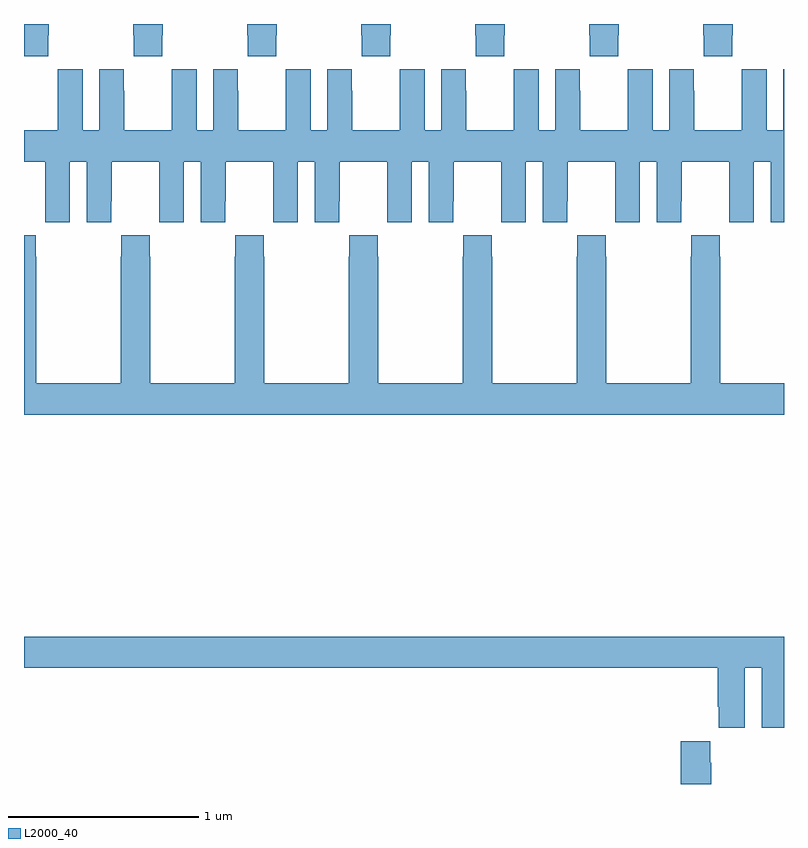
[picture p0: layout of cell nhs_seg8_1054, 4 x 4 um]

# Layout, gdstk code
import gdstk
lib = gdstk.Library(unit=1e-6, precision=1e-09)
def P(c, l, *ps):  # polygons
    for p in ps: c.add(gdstk.Polygon(p, *l))
L2000_40 = (2000, 40)

nhs_seg8_1054 = lib.new_cell('nhs_seg8_1054')
P(nhs_seg8_1054, L2000_40, [(179.727,1107.841),(179.73,1107.841),(179.73,1107.9),(179.575,1107.9),(179.575,1107.841),(179.577,1107.841),(179.577,1107.729),(179.727,1107.729)],
  [(180.327,1107.841),(180.33,1107.841),(180.33,1107.9),(180.175,1107.9),(180.175,1107.841),(180.177,1107.841),(180.177,1107.729),(180.327,1107.729)],
  [(180.927,1107.841),(180.93,1107.841),(180.93,1107.9),(180.775,1107.9),(180.775,1107.841),(180.777,1107.841),(180.777,1107.729),(180.927,1107.729)],
  [(181.527,1107.841),(181.53,1107.841),(181.53,1107.9),(181.375,1107.9),(181.375,1107.841),(181.377,1107.841),(181.377,1107.729),(181.527,1107.729)],
  [(182.127,1107.841),(182.13,1107.841),(182.13,1107.9),(181.975,1107.9),(181.975,1107.841),(181.977,1107.841),(181.977,1107.729),(182.127,1107.729)],
  [(182.727,1107.841),(182.73,1107.841),(182.73,1107.9),(182.575,1107.9),(182.575,1107.841),(182.577,1107.841),(182.577,1107.729),(182.727,1107.729)],
  [(179.127,1107.841),(179.13,1107.841),(179.13,1107.9),(179,1107.9),(179,1107.729),(179.127,1107.729)],
  [(180.311,1106.968),(180.312,1106.968),(180.312,1106.856),(180.442,1106.856),(180.442,1107.176),(180.53,1107.176),(180.53,1106.856),(180.66,1106.856),(180.66,1106.968),(180.661,1106.968),(180.661,1107.176),(180.911,1107.176),(180.911,1106.968),(180.912,1106.968),(180.912,1106.856),(181.042,1106.856),(181.042,1107.176),(181.13,1107.176),(181.13,1106.856),(181.26,1106.856),(181.26,1106.968),(181.261,1106.968),(181.261,1107.176),(181.511,1107.176),(181.511,1106.968),(181.512,1106.968),(181.512,1106.856),(181.642,1106.856),(181.642,1107.176),(181.73,1107.176),(181.73,1106.856),(181.86,1106.856),(181.86,1106.968),(181.861,1106.968),(181.861,1107.176),(182.111,1107.176),(182.111,1106.968),(182.112,1106.968),(182.112,1106.856),(182.242,1106.856),(182.242,1107.176),(182.33,1107.176),(182.33,1106.856),(182.46,1106.856),(182.46,1106.968),(182.461,1106.968),(182.461,1107.176),(182.711,1107.176),(182.711,1106.968),(182.712,1106.968),(182.712,1106.856),(182.842,1106.856),(182.842,1107.176),(182.93,1107.176),(182.93,1106.856),(183,1106.856),(183,1107.661),(182.996,1107.661),(182.996,1107.34),(182.908,1107.34),(182.908,1107.661),(182.778,1107.661),(182.778,1107.548),(182.777,1107.548),(182.777,1107.34),(182.527,1107.34),(182.527,1107.548),(182.526,1107.548),(182.526,1107.661),(182.396,1107.661),(182.396,1107.34),(182.308,1107.34),(182.308,1107.661),(182.178,1107.661),(182.178,1107.548),(182.177,1107.548),(182.177,1107.34),(181.927,1107.34),(181.927,1107.548),(181.926,1107.548),(181.926,1107.661),(181.796,1107.661),(181.796,1107.34),(181.708,1107.34),(181.708,1107.661),(181.578,1107.661),(181.578,1107.548),(181.577,1107.548),(181.577,1107.34),(181.327,1107.34),(181.327,1107.548),(181.326,1107.548),(181.326,1107.661),(181.196,1107.661),(181.196,1107.34),(181.108,1107.34),(181.108,1107.661),(180.978,1107.661),(180.978,1107.548),(180.977,1107.548),(180.977,1107.34),(180.727,1107.34),(180.727,1107.548),(180.726,1107.548),(180.726,1107.661),(180.596,1107.661),(180.596,1107.34),(180.508,1107.34),(180.508,1107.661),(180.378,1107.661),(180.378,1107.548),(180.377,1107.548),(180.377,1107.34),(180.127,1107.34),(180.127,1107.548),(180.126,1107.548),(180.126,1107.661),(179.996,1107.661),(179.996,1107.34),(179.908,1107.34),(179.908,1107.661),(179.778,1107.661),(179.778,1107.548),(179.777,1107.548),(179.777,1107.34),(179.527,1107.34),(179.527,1107.548),(179.526,1107.548),(179.526,1107.661),(179.396,1107.661),(179.396,1107.34),(179.308,1107.34),(179.308,1107.661),(179.178,1107.661),(179.178,1107.548),(179.177,1107.548),(179.177,1107.34),(179,1107.34),(179,1107.176),(179.111,1107.176),(179.111,1106.968),(179.112,1106.968),(179.112,1106.856),(179.242,1106.856),(179.242,1107.176),(179.33,1107.176),(179.33,1106.856),(179.46,1106.856),(179.46,1106.968),(179.461,1106.968),(179.461,1107.176),(179.711,1107.176),(179.711,1106.968),(179.712,1106.968),(179.712,1106.856),(179.842,1106.856),(179.842,1107.176),(179.93,1107.176),(179.93,1106.856),(180.06,1106.856),(180.06,1106.968),(180.061,1106.968),(180.061,1107.176),(180.311,1107.176)],
  [(183,1106.008),(182.664,1106.008),(182.664,1106.675),(182.661,1106.675),(182.661,1106.788),(182.511,1106.788),(182.511,1106.675),(182.509,1106.675),(182.509,1106.008),(182.064,1106.008),(182.064,1106.675),(182.061,1106.675),(182.061,1106.788),(181.911,1106.788),(181.911,1106.675),(181.909,1106.675),(181.909,1106.008),(181.464,1106.008),(181.464,1106.675),(181.461,1106.675),(181.461,1106.788),(181.311,1106.788),(181.311,1106.675),(181.309,1106.675),(181.309,1106.008),(180.864,1106.008),(180.864,1106.675),(180.861,1106.675),(180.861,1106.788),(180.711,1106.788),(180.711,1106.675),(180.709,1106.675),(180.709,1106.008),(180.264,1106.008),(180.264,1106.675),(180.261,1106.675),(180.261,1106.788),(180.111,1106.788),(180.111,1106.675),(180.109,1106.675),(180.109,1106.008),(179.664,1106.008),(179.664,1106.675),(179.661,1106.675),(179.661,1106.788),(179.511,1106.788),(179.511,1106.675),(179.509,1106.675),(179.509,1106.008),(179.064,1106.008),(179.064,1106.675),(179.061,1106.675),(179.061,1106.788),(179,1106.788),(179,1105.844),(183,1105.844)],
  [(182.794,1104.512),(182.882,1104.512),(182.882,1104.195),(183,1104.195),(183,1104.676),(179,1104.676),(179,1104.512),(182.651,1104.512),(182.651,1104.307),(182.657,1104.307),(182.657,1104.195),(182.794,1104.195)],
  [(182.616,1104.011),(182.611,1104.011),(182.611,1104.124),(182.456,1104.124),(182.456,1103.9),(182.616,1103.9)])

lib.write_gds('nhs_seg8_1054.gds')
